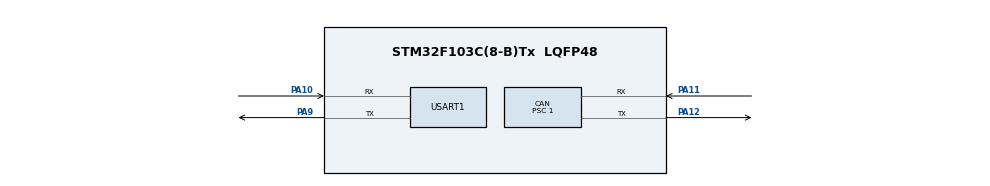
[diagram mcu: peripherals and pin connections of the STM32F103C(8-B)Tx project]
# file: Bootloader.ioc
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CAN.BS1=CAN_BS1_13TQ
CAN.BS2=CAN_BS2_2TQ
CAN.CalculateBaudRate=500000
CAN.CalculateTimeBit=2000
CAN.CalculateTimeQuantum=125.0
CAN.Mode=CAN_MODE_NORMAL
CAN.NART=ENABLE
CAN.Prescaler=1
Mcu.Family=STM32F1
Mcu.Name=STM32F103C(8-B)Tx
Mcu.Package=LQFP48
NVIC.PriorityGroup=NVIC_PRIORITYGROUP_4
PA10.Mode=Asynchronous
PA10.Signal=USART1_RX
PA11.Mode=CAN_Activate
PA11.Signal=CAN_RX
PA12.Mode=CAN_Activate
PA12.Signal=CAN_TX
PA9.Mode=Asynchronous
PA9.Signal=USART1_TX
ProjectManager.HeapSize=0x200
ProjectManager.StackSize=0x400
ProjectManager.TargetToolchain=STM32CubeIDE
RCC.APB1Freq_Value=8000000
RCC.APB2Freq_Value=8000000
USART1.VirtualMode=VM_ASYNC
VP_SYS_VS_ND.Mode=No_Debug
board=custom

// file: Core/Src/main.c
/* USER CODE BEGIN Header */

/**

  ******************************************************************************

  * @file           : main.c

  * @brief          : STM32 custom bootloader

  ******************************************************************************

  */

/* USER CODE END Header */

#include "main.h"

/* USER CODE BEGIN Includes */

#include "uds.h"

/* USER CODE END Includes */

/* USER CODE BEGIN PTD */

typedef enum

{

    BOOT_MODE_NORMAL = 0U,

    BOOT_MODE_UPDATE

} BootloaderMode_t;

typedef enum

{

    BOOT_TRANSPORT_NONE = 0U,

    BOOT_TRANSPORT_UART,

    BOOT_TRANSPORT_CAN

} BootloaderTransport_t;

typedef void (*pFunction)(void);

typedef struct

{

    uint32_t magic;

    uint32_t firmware_size;

    uint32_t crc32;

    uint32_t version;

} FirmwareHeader_t;

/* USER CODE END PTD */

/* USER CODE BEGIN PD */

#define PROTEUS_SIMULATION       0U

#define CAN_ID_COMMAND           0x600U

#define CAN_ID_DATA              0x601U

#define CAN_ID_HEADER            0x602U

#define CAN_ID_RESPONSE          0x650U

#define CAN_ID_UDS_REQUEST       0x7E0U

#define CAN_ID_UDS_RESPONSE      0x7E8U

#define CAN_SEQUENCE_SIZE        2U

#define CAN_DATA_PAYLOAD_SIZE    6U

#define CAN_RESPONSE_DLC         5U

#define CAN_TX_TIMEOUT           100U

#define CAN_SIM_UART_TIMEOUT     2000U

#define CAN_SIM_FRAME_START      0xC5U

#define CAN_ERROR_NONE           0x00U

#define CAN_ERROR_STATE          0x01U

#define CAN_ERROR_LENGTH         0x02U

#define CAN_ERROR_SEQUENCE       0x03U

#define CAN_ERROR_FLASH          0x04U

#define CAN_ERROR_HEADER         0x05U

#define CAN_ERROR_CRC            0x06U

#define CAN_ERROR_RANGE          0x07U

#define APP_HEADER_ADDRESS       0x08004000U

#define APP_START_ADDRESS        0x08004400U

#define APP_END_ADDRESS          0x08010000U

#define SRAM_START_ADDRESS       0x20000000U

#define SRAM_END_ADDRESS         0x20005000U

#define FW_MAGIC_NUMBER          0xB00710ADU

#define FW_VERSION               0x00010000U

#define CRC32_POLYNOMIAL         0xEDB88320U

#define CMD_PING                 'P'

#define CMD_START_UPDATE         'S'

#define CMD_ERASE                'R'

#define CMD_WRITE_TEST           'W'

#define CMD_DATA                 'D'

#define CMD_HEADER               'H'

#define CMD_VERIFY               'V'

#define CMD_END_UPDATE           'E'

#define BL_ACK                   'A'

#define BL_NACK                  'N'

#define BL_READY                 'Y'

#define BL_BYTE_RECEIVED         'K'

#define BL_BUFFER_RECEIVED       'B'

#if PROTEUS_SIMULATION

#define UART_RX_TIMEOUT          15000U

#else

#define UART_RX_TIMEOUT          3000U

#endif

#define UART_TX_TIMEOUT          100U

#define FLASH_PAGE_SIZE          0x400U

#define UPDATE_START_ADDRESS     APP_HEADER_ADDRESS

#define UPDATE_PAGE_COUNT        48U

#define DATA_BLOCK_SIZE          8U

#define HEADER_DATA_SIZE         16U

/* USER CODE END PD */

CAN_HandleTypeDef hcan;

UART_HandleTypeDef huart1;

/* USER CODE BEGIN PV */

static CAN_TxHeaderTypeDef canTxHeader;

static CAN_RxHeaderTypeDef canRxHeader;

static uint8_t canTxData[8];

static uint8_t canRxData[8];

static uint32_t canTxMailbox;

static uint32_t canFirmwareSize;

static uint32_t canFirmwareBytesReceived;

static uint16_t canExpectedDataSequence;

static uint16_t canExpectedHeaderSequence;

static uint8_t canHeaderBytesReceived;

static uint8_t canEraseDone;

static uint8_t canHeaderWritten;

static uint8_t canVerified;

static uint8_t dataBuffer[DATA_BLOCK_SIZE];

static uint8_t headerBuffer[HEADER_DATA_SIZE];

static uint32_t currentWriteAddress = APP_START_ADDRESS;

static uint8_t uartRxByte;

static uint8_t uartTxByte;

static BootloaderMode_t bootMode = BOOT_MODE_NORMAL;

static BootloaderTransport_t bootTransport = BOOT_TRANSPORT_NONE;

static uint32_t udsFlashWriteAddress = APP_START_ADDRESS;

static uint8_t udsFlashPendingByte;

static uint8_t udsFlashPendingByteValid;

/* USER CODE END PV */

void SystemClock_Config(void);

static void MX_GPIO_Init(void);

static void MX_USART1_UART_Init(void);

static void MX_CAN_Init(void);

/* USER CODE BEGIN PFP */

static uint8_t Bootloader_CAN_Init(void);

static void Bootloader_CAN_ResetUpdateState(void);

static uint8_t Bootloader_CAN_SendResponse(uint8_t response,

                                           uint8_t context,

                                           uint16_t sequence,

                                           uint8_t errorCode);

static void Bootloader_CAN_Process(void);

static uint8_t Bootloader_CAN_SimReceiveFrame(void);

static uint8_t Bootloader_UDS_SendFrame(const uint8_t *data,

                                        uint8_t dlc);

static uint8_t Bootloader_UDS_ProgramTransferBlock(const uint8_t *data,

                                                   uint8_t length,

                                                   uint8_t finalBlock);

static uint8_t Bootloader_UDS_FinalizeFirmware(uint32_t expectedCRC);

static void Bootloader_UDS_ProcessFrame(void);

static void Bootloader_CAN_ProcessCommand(void);

static void Bootloader_CAN_ProcessData(void);

static void Bootloader_CAN_ProcessHeader(void);

static uint8_t Bootloader_CAN_ValidateHeaderBuffer(uint8_t *errorCode);

static void Bootloader_WaitForUpdateRequest(void);

static void Bootloader_ProcessCommand(uint8_t command);

static uint8_t Bootloader_EraseFirmwareArea(void);

static uint8_t Bootloader_ProgramHalfWord(uint32_t address,

                                         uint16_t data);

static uint8_t Bootloader_ProgramBuffer(uint32_t address,

                                       const uint8_t *data,

                                       uint32_t length);

static uint8_t Bootloader_IsHeaderValid(void);

static uint8_t Bootloader_IsApplicationValid(void);

static uint8_t Bootloader_IsFirmwareIntegrityValid(void);

static uint32_t Bootloader_CalculateCRC32(uint32_t startAddress,

                                          uint32_t length);

static uint32_t Bootloader_ReadUint32LE(const uint8_t *data);

static void Jump_To_Application(void);

/* USER CODE END PFP */

/* USER CODE BEGIN 0 */

static uint32_t Bootloader_ReadUint32LE(const uint8_t *data)

{

    return ((uint32_t)data[0]) |

           ((uint32_t)data[1] << 8U) |

           ((uint32_t)data[2] << 16U) |

           ((uint32_t)data[3] << 24U);

}

static uint8_t Bootloader_CAN_Init(void)

{

    CAN_FilterTypeDef filter = {0};

    /*

     * One 16-bit list filter accepts the three V5 IDs and the UDS request ID.

     * Standard identifiers are stored left-shifted by 5 bits.

     */

    filter.FilterBank = 0;

    filter.FilterMode = CAN_FILTERMODE_IDLIST;

    filter.FilterScale = CAN_FILTERSCALE_16BIT;

    filter.FilterIdHigh = (CAN_ID_COMMAND << 5U);

    filter.FilterIdLow = (CAN_ID_DATA << 5U);

    filter.FilterMaskIdHigh = (CAN_ID_HEADER << 5U);

    filter.FilterMaskIdLow = (CAN_ID_UDS_REQUEST << 5U);

    filter.FilterFIFOAssignment = CAN_RX_FIFO0;

    filter.FilterActivation = ENABLE;

    filter.SlaveStartFilterBank = 14;

    if (HAL_CAN_ConfigFilter(&hcan, &filter) != HAL_OK)

        return 0U;

    if (HAL_CAN_Start(&hcan) != HAL_OK)

        return 0U;

    return 1U;

}

static void Bootloader_CAN_ResetUpdateState(void)

{

    uint32_t i;

    currentWriteAddress = APP_START_ADDRESS;

    canFirmwareBytesReceived = 0U;

    canExpectedDataSequence = 0U;

    canExpectedHeaderSequence = 0U;

    canHeaderBytesReceived = 0U;

    canEraseDone = 0U;

    canHeaderWritten = 0U;

    canVerified = 0U;

    for (i = 0U; i < HEADER_DATA_SIZE; i++)

        headerBuffer[i] = 0U;

}

static uint8_t Bootloader_UDS_SendFrame(const uint8_t *data,

                                        uint8_t dlc)

{

    uint32_t startTick;

    uint32_t i;

    uint8_t simFrame[12];

    if ((data == NULL) || (dlc == 0U) || (dlc > 8U))

    {

        return 0U;

    }

    canTxHeader.StdId = CAN_ID_UDS_RESPONSE;

    canTxHeader.ExtId = 0U;

    canTxHeader.IDE = CAN_ID_STD;

    canTxHeader.RTR = CAN_RTR_DATA;

    canTxHeader.DLC = dlc;

    canTxHeader.TransmitGlobalTime = DISABLE;

    for (i = 0U; i < dlc; i++)

    {

        canTxData[i] = data[i];

    }

    if (PROTEUS_SIMULATION != 0U)

    {

        simFrame[0] = CAN_SIM_FRAME_START;

        simFrame[1] = (uint8_t)(CAN_ID_UDS_RESPONSE & 0xFFU);

        simFrame[2] = (uint8_t)((CAN_ID_UDS_RESPONSE >> 8U) & 0xFFU);

        simFrame[3] = dlc;

        for (i = 0U; i < dlc; i++)

        {

            simFrame[4U + i] = data[i];

        }

        if (HAL_UART_Transmit(&huart1,

                              simFrame,

                              4U + dlc,

                              HAL_MAX_DELAY) != HAL_OK)

        {

            return 0U;

        }

        return 1U;

    }

    startTick = HAL_GetTick();

    while (HAL_CAN_GetTxMailboxesFreeLevel(&hcan) == 0U)

    {

        if ((HAL_GetTick() - startTick) >= CAN_TX_TIMEOUT)

        {

            return 0U;

        }

    }

    if (HAL_CAN_AddTxMessage(&hcan,

                             &canTxHeader,

                             canTxData,

                             &canTxMailbox) != HAL_OK)

    {

        return 0U;

    }

    return 1U;

}

static uint8_t Bootloader_UDS_ProgramTransferBlock(const uint8_t *data,

                                                   uint8_t length,

                                                   uint8_t finalBlock)

{

    uint8_t index = 0U;

    uint16_t halfWord;

    if ((data == NULL) || (length == 0U))

    {

        return 0U;

    }

    /*

     * STM32F103 Flash is programmed by half-word in this project.

     * UDS TransferData may carry an odd number of bytes, so one byte

     * can be kept until the following block arrives.

     */

    if (udsFlashPendingByteValid != 0U)

    {

        halfWord = (uint16_t)udsFlashPendingByte |

                   ((uint16_t)data[0] << 8U);

        if (Bootloader_ProgramHalfWord(udsFlashWriteAddress,

                                      halfWord) == 0U)

        {

            return 0U;

        }

        udsFlashWriteAddress += 2U;

        udsFlashPendingByteValid = 0U;

        index = 1U;

    }

    while ((uint8_t)(index + 1U) < length)

    {

        halfWord = (uint16_t)data[index] |

                   ((uint16_t)data[index + 1U] << 8U);

        if (Bootloader_ProgramHalfWord(udsFlashWriteAddress,

                                      halfWord) == 0U)

        {

            return 0U;

        }

        udsFlashWriteAddress += 2U;

        index += 2U;

    }

    if (index < length)

    {

        if (finalBlock != 0U)

        {

            halfWord = (uint16_t)data[index] | 0xFF00U;

            if (Bootloader_ProgramHalfWord(udsFlashWriteAddress,

                                          halfWord) == 0U)

            {

                return 0U;

            }

            udsFlashWriteAddress += 2U;

        }

        else

        {

            udsFlashPendingByte = data[index];

            udsFlashPendingByteValid = 1U;

        }

    }

    if ((finalBlock != 0U) &&

        (udsFlashPendingByteValid != 0U))

    {

        halfWord = (uint16_t)udsFlashPendingByte | 0xFF00U;

        if (Bootloader_ProgramHalfWord(udsFlashWriteAddress,

                                      halfWord) == 0U)

        {

            return 0U;

        }

        udsFlashWriteAddress += 2U;

        udsFlashPendingByteValid = 0U;

    }

    return 1U;

}

static uint8_t Bootloader_UDS_FinalizeFirmware(uint32_t expectedCRC)

{

    FirmwareHeader_t header;

    uint32_t calculatedCRC;

    uint32_t firmwareSize;

    firmwareSize = UDS_GetDownloadSize();

    if ((UDS_IsDownloadComplete() == 0U) ||

        (UDS_GetDownloadAddress() != APP_START_ADDRESS) ||

        (firmwareSize == 0U) ||

        ((APP_START_ADDRESS + firmwareSize) > APP_END_ADDRESS))

    {

        return 0U;

    }

    if (Bootloader_IsApplicationValid() == 0U)

    {

        return 0U;

    }

    calculatedCRC =

        Bootloader_CalculateCRC32(APP_START_ADDRESS,

                                  firmwareSize);

    if (calculatedCRC != expectedCRC)

    {

        return 0U;

    }

    /*

     * The Firmware Header is written only after the full Application

     * has been programmed and its CRC32 has been validated.

     */

    header.magic = FW_MAGIC_NUMBER;

    header.firmware_size = firmwareSize;

    header.crc32 = calculatedCRC;

    header.version = FW_VERSION;

    if (Bootloader_ProgramBuffer(APP_HEADER_ADDRESS,

                                 (const uint8_t *)&header,

                                 sizeof(FirmwareHeader_t)) == 0U)

    {

        return 0U;

    }

    if ((Bootloader_IsHeaderValid() == 0U) ||

        (Bootloader_IsApplicationValid() == 0U) ||

        (Bootloader_IsFirmwareIntegrityValid() == 0U))

    {

        return 0U;

    }

    return 1U;

}

static void Bootloader_UDS_ProcessFrame(void)

{

    uint8_t udsResponse[8];

    uint8_t udsResponseDlc = 0U;

    uint8_t responseOk = 1U;

    uint8_t transferData[5];

    uint8_t transferLength = 0U;

    uint8_t finalBlock = 0U;

    uint32_t transferAddress = 0U;

    uint32_t expectedCRC = 0U;

    uint8_t flashOk;

    if (UDS_ProcessSingleFrame(canRxData,

                               (uint8_t)canRxHeader.DLC,

                               udsResponse,

                               &udsResponseDlc) == 0U)

    {

        return;

    }

    if (UDS_GetSession() == UDS_SESSION_PROGRAMMING)

    {

        bootMode = BOOT_MODE_UPDATE;

        bootTransport = BOOT_TRANSPORT_CAN;

    }

    /*

     * RequestDownload:

     * UDS validates the request first, then the Bootloader erases Flash.

     */

    if (UDS_IsDownloadPreparationPending() != 0U)

    {

        flashOk = Bootloader_EraseFirmwareArea();

        if (flashOk != 0U)

        {

            udsFlashWriteAddress = UDS_GetDownloadAddress();

            udsFlashPendingByte = 0U;

            udsFlashPendingByteValid = 0U;

        }

        UDS_CompleteDownloadPreparation(flashOk,

                                        udsResponse,

                                        &udsResponseDlc);

    }

    /*

     * TransferData:

     * only a validated block reaches the STM32 Flash layer.

     */

    if (UDS_IsTransferDataPending() != 0U)

    {

        if (UDS_GetPendingTransferData(&transferAddress,

                                       transferData,

                                       &transferLength,

                                       &finalBlock) == 0U)

        {

            UDS_CompleteTransferData(0U,

                                     udsResponse,

                                     &udsResponseDlc);

        }

        else

        {

            (void)transferAddress;

            flashOk = Bootloader_UDS_ProgramTransferBlock(

                transferData,

                transferLength,

                finalBlock

            );

            UDS_CompleteTransferData(flashOk,

                                     udsResponse,

                                     &udsResponseDlc);

        }

    }

    /*

     * RequestTransferExit with CRC32:

     * calculate CRC from Flash, validate the Application, create the

     * Firmware Header and verify it before sending positive response 0x77.

     */

    if (UDS_IsFinalizationPending() != 0U)

    {

        expectedCRC = UDS_GetExpectedCRC32();

        flashOk =

            Bootloader_UDS_FinalizeFirmware(expectedCRC);

        UDS_CompleteFinalization(flashOk,

                                 udsResponse,

                                 &udsResponseDlc);

    }

    if (udsResponseDlc > 0U)

    {

        responseOk = Bootloader_UDS_SendFrame(udsResponse,

                                              udsResponseDlc);

    }

    if ((responseOk == 1U) &&

        (UDS_IsResetRequested() != 0U))

    {

        UDS_ClearResetRequest();

        if (PROTEUS_SIMULATION != 0U)

        {

            HAL_Delay(1000U);

        }

        else

        {

            HAL_Delay(10U);

        }

        NVIC_SystemReset();

    }

}

static uint8_t Bootloader_CAN_SimReceiveFrame(void)

{

    uint8_t frameHeader[3];

    uint16_t stdId;

    uint32_t i;

    /*

     * Proteus transport format:

     * C5 | ID_L | ID_H | DLC | DATA...

     *

     * The C5 marker is consumed by the caller before this function.

     */

    if (HAL_UART_Receive(&huart1,

                         frameHeader,

                         3U,

                         CAN_SIM_UART_TIMEOUT) != HAL_OK)

    {

        return 0U;

    }

    stdId = (uint16_t)frameHeader[0] |

            ((uint16_t)frameHeader[1] << 8U);

    if ((stdId > 0x7FFU) || (frameHeader[2] > 8U))

    {

        return 0U;

    }

    for (i = 0U; i < 8U; i++)

    {

        canRxData[i] = 0U;

    }

    if (frameHeader[2] > 0U)

    {

        if (HAL_UART_Receive(&huart1,

                             canRxData,

                             frameHeader[2],

                             CAN_SIM_UART_TIMEOUT) != HAL_OK)

        {

            return 0U;

        }

    }

    canRxHeader.StdId = stdId;

    canRxHeader.ExtId = 0U;

    canRxHeader.IDE = CAN_ID_STD;

    canRxHeader.RTR = CAN_RTR_DATA;

    canRxHeader.DLC = frameHeader[2];

    if (stdId == CAN_ID_COMMAND)

    {

        Bootloader_CAN_ProcessCommand();

    }

    else if (stdId == CAN_ID_DATA)

    {

        Bootloader_CAN_ProcessData();

    }

    else if (stdId == CAN_ID_HEADER)

    {

        Bootloader_CAN_ProcessHeader();

    }

    else if (stdId == CAN_ID_UDS_REQUEST)

    {

        Bootloader_UDS_ProcessFrame();

    }

    else

    {

        return 0U;

    }

    return 1U;

}

static uint8_t Bootloader_CAN_SendResponse(uint8_t response,

                                           uint8_t context,

                                           uint16_t sequence,

                                           uint8_t errorCode)

{

    uint32_t startTick;

    uint32_t i;

    uint8_t simFrame[4U + CAN_RESPONSE_DLC];

    canTxHeader.StdId = CAN_ID_RESPONSE;

    canTxHeader.ExtId = 0U;

    canTxHeader.IDE = CAN_ID_STD;

    canTxHeader.RTR = CAN_RTR_DATA;

    canTxHeader.DLC = CAN_RESPONSE_DLC;

    canTxHeader.TransmitGlobalTime = DISABLE;

    canTxData[0] = response;

    canTxData[1] = context;

    canTxData[2] = (uint8_t)(sequence & 0xFFU);

    canTxData[3] = (uint8_t)((sequence >> 8U) & 0xFFU);

    canTxData[4] = errorCode;

    if (PROTEUS_SIMULATION != 0U)

    {

        simFrame[0] = CAN_SIM_FRAME_START;

        simFrame[1] = (uint8_t)(CAN_ID_RESPONSE & 0xFFU);

        simFrame[2] = (uint8_t)((CAN_ID_RESPONSE >> 8U) & 0xFFU);

        simFrame[3] = CAN_RESPONSE_DLC;

        for (i = 0U; i < CAN_RESPONSE_DLC; i++)

        {

            simFrame[4U + i] = canTxData[i];

        }

        if (HAL_UART_Transmit(&huart1,

                              simFrame,

                              sizeof(simFrame),

                              HAL_MAX_DELAY) != HAL_OK)

        {

            return 0U;

        }

        return 1U;

    }

    startTick = HAL_GetTick();

    while (HAL_CAN_GetTxMailboxesFreeLevel(&hcan) == 0U)

    {

        if ((HAL_GetTick() - startTick) >= CAN_TX_TIMEOUT)

        {

            return 0U;

        }

    }

    if (HAL_CAN_AddTxMessage(&hcan,

                             &canTxHeader,

                             canTxData,

                             &canTxMailbox) != HAL_OK)

    {

        return 0U;

    }

    return 1U;

}

static uint8_t Bootloader_CAN_ValidateHeaderBuffer(uint8_t *errorCode)

{

    FirmwareHeader_t header;

    uint32_t maxFirmwareSize;

    uint32_t calculatedCRC;

    header.magic = Bootloader_ReadUint32LE(&headerBuffer[0]);

    header.firmware_size = Bootloader_ReadUint32LE(&headerBuffer[4]);

    header.crc32 = Bootloader_ReadUint32LE(&headerBuffer[8]);

    header.version = Bootloader_ReadUint32LE(&headerBuffer[12]);

    maxFirmwareSize = APP_END_ADDRESS - APP_START_ADDRESS;

    if (header.magic != FW_MAGIC_NUMBER)

    {

        *errorCode = CAN_ERROR_HEADER;

        return 0U;

    }

    if ((header.firmware_size == 0U) ||

        (header.firmware_size > maxFirmwareSize) ||

        (header.firmware_size != canFirmwareSize) ||

        (header.firmware_size != canFirmwareBytesReceived))

    {

        *errorCode = CAN_ERROR_RANGE;

        return 0U;

    }

    if (Bootloader_IsApplicationValid() == 0U)

    {

        *errorCode = CAN_ERROR_HEADER;

        return 0U;

    }

    calculatedCRC = Bootloader_CalculateCRC32(APP_START_ADDRESS,

                                               header.firmware_size);

    if (calculatedCRC != header.crc32)

    {

        *errorCode = CAN_ERROR_CRC;

        return 0U;

    }

    *errorCode = CAN_ERROR_NONE;

    return 1U;

}

static void Bootloader_CAN_ProcessCommand(void)

{

    uint8_t command;

    uint32_t firmwareSize;

    uint32_t maxFirmwareSize;

    uint32_t startTick;

    if (canRxHeader.DLC < 1U)

        return;

    command = canRxData[0];

    switch (command)

    {

        case CMD_PING:

        {

            Bootloader_CAN_SendResponse(BL_ACK,

                                        CMD_PING,

                                        0U,

                                        CAN_ERROR_NONE);

            break;

        }

        case CMD_START_UPDATE:

        {

            if (canRxHeader.DLC != 5U)

            {

                Bootloader_CAN_SendResponse(BL_NACK,

                                            CMD_START_UPDATE,

                                            0U,

                                            CAN_ERROR_LENGTH);

                break;

            }

            firmwareSize = Bootloader_ReadUint32LE(&canRxData[1]);

            maxFirmwareSize = APP_END_ADDRESS - APP_START_ADDRESS;

            if ((firmwareSize == 0U) || (firmwareSize > maxFirmwareSize))

            {

                Bootloader_CAN_SendResponse(BL_NACK,

                                            CMD_START_UPDATE,

                                            0U,

                                            CAN_ERROR_RANGE);

                break;

            }

            bootMode = BOOT_MODE_UPDATE;

            bootTransport = BOOT_TRANSPORT_CAN;

            canFirmwareSize = firmwareSize;

            Bootloader_CAN_ResetUpdateState();

            Bootloader_CAN_SendResponse(BL_ACK,

                                        CMD_START_UPDATE,

                                        0U,

                                        CAN_ERROR_NONE);

            break;

        }

        case CMD_ERASE:

        {

            if ((bootMode != BOOT_MODE_UPDATE) ||

                (bootTransport != BOOT_TRANSPORT_CAN) ||

                (canFirmwareSize == 0U))

            {

                Bootloader_CAN_SendResponse(BL_NACK,

                                            CMD_ERASE,

                                            0U,

                                            CAN_ERROR_STATE);

                break;

            }

            if (Bootloader_EraseFirmwareArea() == 0U)

            {

                Bootloader_CAN_SendResponse(BL_NACK,

                                            CMD_ERASE,

                                            0U,

                                            CAN_ERROR_FLASH);

                break;

            }

            Bootloader_CAN_ResetUpdateState();

            canEraseDone = 1U;

            Bootloader_CAN_SendResponse(BL_ACK,

                                        CMD_ERASE,

                                        0U,

                                        CAN_ERROR_NONE);

            break;

        }

        case CMD_VERIFY:

        {

            if ((bootMode != BOOT_MODE_UPDATE) ||

                (bootTransport != BOOT_TRANSPORT_CAN) ||

                (canHeaderWritten == 0U))

            {

                Bootloader_CAN_SendResponse(BL_NACK,

                                            CMD_VERIFY,

                                            0U,

                                            CAN_ERROR_STATE);

                break;

            }

            if ((Bootloader_IsHeaderValid() == 1U) &&

                (Bootloader_IsApplicationValid() == 1U) &&

                (Bootloader_IsFirmwareIntegrityValid() == 1U))

            {

                canVerified = 1U;

                Bootloader_CAN_SendResponse(BL_ACK,

                                            CMD_VERIFY,

                                            0U,

                                            CAN_ERROR_NONE);

            }

            else

            {

                canVerified = 0U;

                Bootloader_CAN_SendResponse(BL_NACK,

                                            CMD_VERIFY,

                                            0U,

                                            CAN_ERROR_CRC);

            }

            break;

        }

        case CMD_END_UPDATE:

        {

            if ((bootMode != BOOT_MODE_UPDATE) ||

                (bootTransport != BOOT_TRANSPORT_CAN) ||

                (canVerified == 0U) ||

                (Bootloader_IsHeaderValid() == 0U) ||

                (Bootloader_IsApplicationValid() == 0U) ||

                (Bootloader_IsFirmwareIntegrityValid() == 0U))

            {

                Bootloader_CAN_SendResponse(BL_NACK,

                                            CMD_END_UPDATE,

                                            0U,

                                            CAN_ERROR_STATE);

                break;

            }

            if (Bootloader_CAN_SendResponse(BL_ACK,

                                            CMD_END_UPDATE,

                                            0U,

                                            CAN_ERROR_NONE) == 1U)

            {

                if (PROTEUS_SIMULATION == 0U)

                {

                    startTick = HAL_GetTick();

                    while (HAL_CAN_IsTxMessagePending(&hcan,

                                                      canTxMailbox) != 0U)

                    {

                        if ((HAL_GetTick() - startTick) >= CAN_TX_TIMEOUT)

                        {

                            break;

                        }

                    }

                }

            }

            if (PROTEUS_SIMULATION != 0U)

            {

                HAL_Delay(1000U);

            }

            else

            {

                HAL_Delay(10U);

            }

            NVIC_SystemReset();

            break;

        }

        default:

        {

            Bootloader_CAN_SendResponse(BL_NACK,

                                        command,

                                        0U,

                                        CAN_ERROR_STATE);

            break;

        }

    }

}

static void Bootloader_CAN_ProcessData(void)

{

    uint16_t sequence;

    uint16_t previousSequence;

    uint8_t payloadLength;

    uint8_t expectedLength;

    uint8_t programLength;

    uint8_t programBuffer[CAN_DATA_PAYLOAD_SIZE + 1U];

    uint32_t remaining;

    uint32_t i;

    if ((bootMode != BOOT_MODE_UPDATE) ||

        (bootTransport != BOOT_TRANSPORT_CAN) ||

        (canEraseDone == 0U))

    {

        Bootloader_CAN_SendResponse(BL_NACK,

                                    CMD_DATA,

                                    0U,

                                    CAN_ERROR_STATE);

        return;

    }

    if ((canRxHeader.DLC < 3U) || (canRxHeader.DLC > 8U))

    {

        Bootloader_CAN_SendResponse(BL_NACK,

                                    CMD_DATA,

                                    0U,

                                    CAN_ERROR_LENGTH);

        return;

    }

    sequence = (uint16_t)canRxData[0] |

               ((uint16_t)canRxData[1] << 8U);

    if (canExpectedDataSequence > 0U)

    {

        previousSequence = (uint16_t)(canExpectedDataSequence - 1U);

        if (sequence == previousSequence)

        {

            Bootloader_CAN_SendResponse(BL_ACK,

                                        CMD_DATA,

                                        sequence,

                                        CAN_ERROR_NONE);

            return;

        }

    }

    if (sequence != canExpectedDataSequence)

    {

        Bootloader_CAN_SendResponse(BL_NACK,

                                    CMD_DATA,

                                    sequence,

                                    CAN_ERROR_SEQUENCE);

        return;

    }

    if (canFirmwareBytesReceived >= canFirmwareSize)

    {

        Bootloader_CAN_SendResponse(BL_NACK,

                                    CMD_DATA,

                                    sequence,

                                    CAN_ERROR_RANGE);

        return;

    }

    remaining = canFirmwareSize - canFirmwareBytesReceived;

    if (remaining > CAN_DATA_PAYLOAD_SIZE)

        expectedLength = CAN_DATA_PAYLOAD_SIZE;

    else

        expectedLength = (uint8_t)remaining;

    payloadLength = (uint8_t)(canRxHeader.DLC - CAN_SEQUENCE_SIZE);

    if (payloadLength != expectedLength)

    {

        Bootloader_CAN_SendResponse(BL_NACK,

                                    CMD_DATA,

                                    sequence,

                                    CAN_ERROR_LENGTH);

        return;

    }

    for (i = 0U; i < payloadLength; i++)

        programBuffer[i] = canRxData[i + CAN_SEQUENCE_SIZE];

    programLength = payloadLength;

    if ((programLength & 0x1U) != 0U)

    {

        programBuffer[programLength] = 0xFFU;

        programLength++;

    }

    if ((currentWriteAddress + programLength) > APP_END_ADDRESS)

    {

        Bootloader_CAN_SendResponse(BL_NACK,

                                    CMD_DATA,

                                    sequence,

                                    CAN_ERROR_RANGE);

        return;

    }

    if (Bootloader_ProgramBuffer(currentWriteAddress,

                                 programBuffer,

                                 programLength) == 0U)

    {

        Bootloader_CAN_SendResponse(BL_NACK,

                                    CMD_DATA,

                                    sequence,

                                    CAN_ERROR_FLASH);

        return;

    }

    currentWriteAddress += programLength;

    canFirmwareBytesReceived += payloadLength;

    canExpectedDataSequence++;

    Bootloader_CAN_SendResponse(BL_ACK,

                                CMD_DATA,

                                sequence,

                                CAN_ERROR_NONE);

}

static void Bootloader_CAN_ProcessHeader(void)

{

    uint16_t sequence;

    uint16_t previousSequence;

    uint8_t payloadLength;

    uint8_t expectedLength;

    uint8_t errorCode;

    uint32_t remaining;

    uint32_t i;

    if ((bootMode != BOOT_MODE_UPDATE) ||

        (bootTransport != BOOT_TRANSPORT_CAN) ||

        (canEraseDone == 0U) ||

        (canFirmwareBytesReceived != canFirmwareSize))

    {

        Bootloader_CAN_SendResponse(BL_NACK,

                                    CMD_HEADER,

                                    0U,

                                    CAN_ERROR_STATE);

        return;

    }

    if ((canRxHeader.DLC < 3U) || (canRxHeader.DLC > 8U))

    {

        Bootloader_CAN_SendResponse(BL_NACK,

                                    CMD_HEADER,

                                    0U,

                                    CAN_ERROR_LENGTH);

        return;

    }

    sequence = (uint16_t)canRxData[0] |

               ((uint16_t)canRxData[1] << 8U);

    if (canExpectedHeaderSequence > 0U)

    {

        previousSequence = (uint16_t)(canExpectedHeaderSequence - 1U);

        if (sequence == previousSequence)

        {

            Bootloader_CAN_SendResponse(BL_ACK,

                                        CMD_HEADER,

                                        sequence,

                                        CAN_ERROR_NONE);

            return;

        }

    }

    if (sequence != canExpectedHeaderSequence)

    {

        Bootloader_CAN_SendResponse(BL_NACK,

                                    CMD_HEADER,

                                    sequence,

                                    CAN_ERROR_SEQUENCE);

        return;

    }

    if (canHeaderBytesReceived >= HEADER_DATA_SIZE)

    {

        Bootloader_CAN_SendResponse(BL_NACK,

                                    CMD_HEADER,

                                    sequence,

                                    CAN_ERROR_RANGE);

        return;

    }

    remaining = HEADER_DATA_SIZE - canHeaderBytesReceived;

    if (remaining > CAN_DATA_PAYLOAD_SIZE)

        expectedLength = CAN_DATA_PAYLOAD_SIZE;

    else

        expectedLength = (uint8_t)remaining;

    payloadLength = (uint8_t)(canRxHeader.DLC - CAN_SEQUENCE_SIZE);

    if (payloadLength != expectedLength)

    {

        Bootloader_CAN_SendResponse(BL_NACK,

                                    CMD_HEADER,

                                    sequence,

                                    CAN_ERROR_LENGTH);

        return;

    }

    for (i = 0U; i < payloadLength; i++)

    {

        headerBuffer[canHeaderBytesReceived + i] =

            canRxData[i + CAN_SEQUENCE_SIZE];

    }

    canHeaderBytesReceived += payloadLength;

    if (canHeaderBytesReceived == HEADER_DATA_SIZE)

    {

        if (Bootloader_CAN_ValidateHeaderBuffer(&errorCode) == 0U)

        {

            canHeaderBytesReceived = 0U;

            canExpectedHeaderSequence = 0U;

            canHeaderWritten = 0U;

            canVerified = 0U;

            Bootloader_CAN_SendResponse(BL_NACK,

                                        CMD_HEADER,

                                        sequence,

                                        errorCode);

            return;

        }

        if (Bootloader_ProgramBuffer(APP_HEADER_ADDRESS,

                                     headerBuffer,

                                     HEADER_DATA_SIZE) == 0U)

        {

            canHeaderBytesReceived = 0U;

            canExpectedHeaderSequence = 0U;

            canHeaderWritten = 0U;

            Bootloader_CAN_SendResponse(BL_NACK,

                                        CMD_HEADER,

                                        sequence,

                                        CAN_ERROR_FLASH);

            return;

        }

        canHeaderWritten = 1U;

    }

    canExpectedHeaderSequence++;

    Bootloader_CAN_SendResponse(BL_ACK,

                                CMD_HEADER,

                                sequence,

                                CAN_ERROR_NONE);

}

static void Bootloader_CAN_Process(void)

{

    if (HAL_CAN_GetRxFifoFillLevel(&hcan, CAN_RX_FIFO0) == 0U)

        return;

    if (HAL_CAN_GetRxMessage(&hcan,

                             CAN_RX_FIFO0,

                             &canRxHeader,

                             canRxData) != HAL_OK)

    {

        return;

    }

    if ((canRxHeader.IDE != CAN_ID_STD) ||

        (canRxHeader.RTR != CAN_RTR_DATA))

    {

        return;

    }

    if (canRxHeader.StdId == CAN_ID_COMMAND)

    {

        Bootloader_CAN_ProcessCommand();

    }

    else if (canRxHeader.StdId == CAN_ID_DATA)

    {

        Bootloader_CAN_ProcessData();

    }

    else if (canRxHeader.StdId == CAN_ID_HEADER)

    {

        Bootloader_CAN_ProcessHeader();

    }

    else if (canRxHeader.StdId == CAN_ID_UDS_REQUEST)

    {

        Bootloader_UDS_ProcessFrame();

    }

}

static void Bootloader_WaitForUpdateRequest(void)

{

    uint32_t startTick;

    startTick = HAL_GetTick();

    while ((HAL_GetTick() - startTick) < UART_RX_TIMEOUT)

    {

        if (PROTEUS_SIMULATION == 0U)

        {

            Bootloader_CAN_Process();

            if (bootMode == BOOT_MODE_UPDATE)

            {

                break;

            }

        }

        if (HAL_UART_Receive(&huart1,

                             &uartRxByte,

                             1U,

                             1U) == HAL_OK)

        {

            if ((PROTEUS_SIMULATION != 0U) &&

                (uartRxByte == CAN_SIM_FRAME_START))

            {

                (void)Bootloader_CAN_SimReceiveFrame();

            }

            else

            {

                Bootloader_ProcessCommand(uartRxByte);

            }

            /*

             * Keep the Proteus diagnostic window alive while the tester

             * is actively communicating, but allow a normal boot after

             * 15 seconds of inactivity.

             */

            startTick = HAL_GetTick();

            if (bootMode == BOOT_MODE_UPDATE)

            {

                break;

            }

        }

    }

}

static uint8_t Bootloader_ProgramBuffer(uint32_t address,

                                        const uint8_t *data,

                                        uint32_t length)

{

    uint32_t i;

    uint16_t halfWord;

    if ((data == NULL) || (length == 0U))

        return 0U;

    if ((length & 0x1U) != 0U)

        return 0U;

    if ((address < UPDATE_START_ADDRESS) ||

        (address >= APP_END_ADDRESS))

        return 0U;

    if ((address + length) > APP_END_ADDRESS)

        return 0U;

    if ((address & 0x1U) != 0U)

        return 0U;

    HAL_FLASH_Unlock();

    for (i = 0U; i < length; i += 2U)

    {

        halfWord = (uint16_t)data[i] |

                   ((uint16_t)data[i + 1U] << 8U);

        if (HAL_FLASH_Program(FLASH_TYPEPROGRAM_HALFWORD,

                              address + i,

                              halfWord) != HAL_OK)

        {

            HAL_FLASH_Lock();

            return 0U;

        }

        if (*(volatile uint16_t *)(address + i) != halfWord)

        {

            HAL_FLASH_Lock();

            return 0U;

        }

    }

    HAL_FLASH_Lock();

    return 1U;

}

static uint8_t Bootloader_ProgramHalfWord(uint32_t address,

                                          uint16_t data)

{

    if ((address < UPDATE_START_ADDRESS) ||

        (address >= APP_END_ADDRESS))

        return 0U;

    if ((address & 0x1U) != 0U)

        return 0U;

    HAL_FLASH_Unlock();

    if (HAL_FLASH_Program(FLASH_TYPEPROGRAM_HALFWORD,

                          address,

                          data) != HAL_OK)

    {

        HAL_FLASH_Lock();

        return 0U;

    }

    HAL_FLASH_Lock();

    if (*(volatile uint16_t *)address != data)

        return 0U;

    return 1U;

}

static uint8_t Bootloader_EraseFirmwareArea(void)

{

    FLASH_EraseInitTypeDef eraseInit = {0};

    uint32_t pageError;

    eraseInit.TypeErase = FLASH_TYPEERASE_PAGES;

    eraseInit.PageAddress = UPDATE_START_ADDRESS;

    eraseInit.NbPages = UPDATE_PAGE_COUNT;

    HAL_FLASH_Unlock();

    if (HAL_FLASHEx_Erase(&eraseInit, &pageError) != HAL_OK)

    {

        HAL_FLASH_Lock();

        return 0U;

    }

    HAL_FLASH_Lock();

    return 1U;

}

__attribute__((noinline, optimize("O0")))

static uint32_t Bootloader_CalculateCRC32(uint32_t startAddress,

                                           uint32_t length)

{

    const volatile uint8_t *data;

    uint32_t crc;

    uint32_t i;

    uint8_t bit;

    data = (const volatile uint8_t *)startAddress;

    crc = 0xFFFFFFFFU;

    for (i = 0U; i < length; i++)

    {

        crc ^= (uint32_t)data[i];

        for (bit = 0U; bit < 8U; bit++)

        {

            if ((crc & 0x1U) != 0U)

                crc = (crc >> 1U) ^ CRC32_POLYNOMIAL;

            else

                crc >>= 1U;

        }

    }

    return crc ^ 0xFFFFFFFFU;

}

static uint8_t Bootloader_IsHeaderValid(void)

{

    const volatile FirmwareHeader_t *header;

    uint32_t maxFirmwareSize;

    header =

        (const volatile FirmwareHeader_t *)APP_HEADER_ADDRESS;

    if (header->magic != FW_MAGIC_NUMBER)

        return 0U;

maxFirmwareSize =

        APP_END_ADDRESS - APP_START_ADDRESS;

    if (header->firmware_size == 0U)

        return 0U;

    if (header->firmware_size > maxFirmwareSize)

        return 0U;

    return 1U;

}

static uint8_t Bootloader_IsApplicationValid(void)

{

    uint32_t appStack;

    uint32_t appResetHandler;

    uint32_t appResetAddress;

    appStack =

        *(volatile uint32_t *)APP_START_ADDRESS;

    appResetHandler =

        *(volatile uint32_t *)(APP_START_ADDRESS + 4U);

    if ((appStack == 0xFFFFFFFFU) ||

        (appResetHandler == 0xFFFFFFFFU))

        return 0U;

    /*

     * The initial MSP can be equal to the top of SRAM because

     * the stack grows downward.

     */

    if ((appStack < SRAM_START_ADDRESS) ||

        (appStack > SRAM_END_ADDRESS))

        return 0U;

    /* Cortex-M handler addresses must have the Thumb bit set. */

    if ((appResetHandler & 0x1U) == 0U)

        return 0U;

    appResetAddress =

        appResetHandler & ~0x1U;

    if ((appResetAddress < APP_START_ADDRESS) ||

        (appResetAddress >= APP_END_ADDRESS))

        return 0U;

    return 1U;

}

static uint8_t Bootloader_IsFirmwareIntegrityValid(void)

{

    const volatile FirmwareHeader_t *header;

    uint32_t calculatedCRC;

    header =

        (const volatile FirmwareHeader_t *)APP_HEADER_ADDRESS;

    calculatedCRC =

        Bootloader_CalculateCRC32(APP_START_ADDRESS,

                                  header->firmware_size);

    if (calculatedCRC != header->crc32)

        return 0U;

    return 1U;

}

static void Jump_To_Application(void)
{
    uint32_t appStack;
    uint32_t appResetHandler;
    uint32_t i;

    /* Do not jump to an empty or inconsistent application. */
    if (Bootloader_IsApplicationValid() == 0U)
    {
        return;
    }

    appStack = *(volatile uint32_t *)APP_START_ADDRESS;
    appResetHandler = *(volatile uint32_t *)(APP_START_ADDRESS + 4U);

    /* Basic vector table validation before changing processor state. */
    if (((appStack & 0x7U) != 0U) ||
        ((appResetHandler & 0x1U) == 0U))
    {
        return;
    }

    /* HAL deinitialization must run while SysTick still works. */
    if (PROTEUS_SIMULATION == 0U)
    {
        (void)HAL_CAN_DeInit(&hcan);
    }
    (void)HAL_UART_DeInit(&huart1);

    __disable_irq();

    /* Stop the bootloader tick so it cannot fire in the application. */
    SysTick->CTRL = 0U;
    SysTick->LOAD = 0U;
    SysTick->VAL  = 0U;

    /* STM32F103: clear/disable up to 64 external IRQ slots. */
    for (i = 0U; i < 2U; ++i)
    {
        NVIC->ICER[i] = 0xFFFFFFFFU;
        NVIC->ICPR[i] = 0xFFFFFFFFU;
    }

    /* Discard pending SysTick and PendSV exceptions. */
    SCB->ICSR = SCB_ICSR_PENDSVCLR_Msk | SCB_ICSR_PENDSTCLR_Msk;

    /* The application's vector table starts at 0x08004400. */
    SCB->VTOR = APP_START_ADDRESS;
    __DSB();
    __ISB();

    /* All external IRQs remain disabled; main() may reconfigure them. */
    __enable_irq();

    /* Atomic stack switch + branch: no C code runs on the new MSP. */
    __asm volatile
    (
        "msr msp, %0\n"
        "bx %1\n"
        :
        : "r" (appStack), "r" (appResetHandler)
        : "memory"
    );

    __builtin_unreachable();
}

static void Bootloader_ProcessCommand(uint8_t command)

{

    switch (command)

    {

        case CMD_PING:

        {

            uartTxByte = BL_ACK;

            HAL_UART_Transmit(&huart1,

                              &uartTxByte,

                              1U,

                              UART_TX_TIMEOUT);

            break;

        }

        case CMD_START_UPDATE:

        {

            bootMode = BOOT_MODE_UPDATE;

            bootTransport = BOOT_TRANSPORT_UART;

            uartTxByte = BL_ACK;

            HAL_UART_Transmit(&huart1,

                              &uartTxByte,

                              1U,

                              UART_TX_TIMEOUT);

            break;

        }

        case CMD_ERASE:

        {

            if (bootMode != BOOT_MODE_UPDATE)

            {

                uartTxByte = BL_NACK;

            }

            else if (Bootloader_EraseFirmwareArea() == 1U)

            {

                currentWriteAddress = APP_START_ADDRESS;

                uartTxByte = BL_ACK;

            }

            else

            {

                uartTxByte = BL_NACK;

            }

            HAL_UART_Transmit(&huart1,

                              &uartTxByte,

                              1U,

                              UART_TX_TIMEOUT);

            break;

        }

        case CMD_WRITE_TEST:

        {

            if ((bootMode == BOOT_MODE_UPDATE) &&

                (Bootloader_ProgramHalfWord(APP_START_ADDRESS,

                                            0x1234U) == 1U))

            {

                uartTxByte = BL_ACK;

            }

            else

            {

                uartTxByte = BL_NACK;

            }

            HAL_UART_Transmit(&huart1,

                              &uartTxByte,

                              1U,

                              UART_TX_TIMEOUT);

            break;

        }

        case CMD_DATA:

        {

            uint32_t i;

            uint8_t receiveOk = 1U;

            if (bootMode != BOOT_MODE_UPDATE)

            {

                uartTxByte = BL_NACK;

                HAL_UART_Transmit(&huart1,

                                  &uartTxByte,

                                  1U,

                                  UART_TX_TIMEOUT);

                break;

            }

            /* Tell the PC that the STM32 is ready for the block. */

            uartTxByte = BL_READY;

            HAL_UART_Transmit(&huart1,

                              &uartTxByte,

                              1U,

                              UART_TX_TIMEOUT);

            for (i = 0U; i < DATA_BLOCK_SIZE; i++)

            {

                if (HAL_UART_Receive(&huart1,

                                     &dataBuffer[i],

                                     1U,

                                     HAL_MAX_DELAY) != HAL_OK)

                {

                    receiveOk = 0U;

                    break;

                }

                uartTxByte = BL_BYTE_RECEIVED;

                HAL_UART_Transmit(&huart1,

                                  &uartTxByte,

                                  1U,

                                  UART_TX_TIMEOUT);

            }

            if (receiveOk == 0U)

            {

                uartTxByte = BL_NACK;

                HAL_UART_Transmit(&huart1,

                                  &uartTxByte,

                                  1U,

                                  UART_TX_TIMEOUT);

                break;

            }

            /* Complete block is now available in RAM. */

            uartTxByte = BL_BUFFER_RECEIVED;

            HAL_UART_Transmit(&huart1,

                              &uartTxByte,

                              1U,

                              UART_TX_TIMEOUT);

            if (Bootloader_ProgramBuffer(currentWriteAddress,

                                         dataBuffer,

                                         DATA_BLOCK_SIZE) == 1U)

            {

                currentWriteAddress += DATA_BLOCK_SIZE;

                uartTxByte = BL_ACK;

            }

            else

            {

                uartTxByte = BL_NACK;

            }

            HAL_UART_Transmit(&huart1,

                              &uartTxByte,

                              1U,

                              UART_TX_TIMEOUT);

            break;

        }

        case CMD_HEADER:

        {

            uint32_t i;

            uint8_t receiveOk = 1U;

            if (bootMode != BOOT_MODE_UPDATE)

            {

                uartTxByte = BL_NACK;

                HAL_UART_Transmit(&huart1,

                                  &uartTxByte,

                                  1U,

                                  UART_TX_TIMEOUT);

                break;

            }

            uartTxByte = BL_READY;

            HAL_UART_Transmit(&huart1,

                              &uartTxByte,

                              1U,

                              UART_TX_TIMEOUT);

            for (i = 0U; i < HEADER_DATA_SIZE; i++)

            {

                if (HAL_UART_Receive(&huart1,

                                     &headerBuffer[i],

                                     1U,

                                     HAL_MAX_DELAY) != HAL_OK)

                {

                    receiveOk = 0U;

                    break;

                }

                uartTxByte = BL_BYTE_RECEIVED;

                HAL_UART_Transmit(&huart1,

                                  &uartTxByte,

                                  1U,

                                  UART_TX_TIMEOUT);

            }

            if (receiveOk == 0U)

            {

                uartTxByte = BL_NACK;

                HAL_UART_Transmit(&huart1,

                                  &uartTxByte,

                                  1U,

                                  UART_TX_TIMEOUT);

                break;

            }

            uartTxByte = BL_BUFFER_RECEIVED;

            HAL_UART_Transmit(&huart1,

                              &uartTxByte,

                              1U,

                              UART_TX_TIMEOUT);

            if (Bootloader_ProgramBuffer(APP_HEADER_ADDRESS,

                                         headerBuffer,

                                         HEADER_DATA_SIZE) == 1U)

            {

                uartTxByte = BL_ACK;

            }

            else

            {

                uartTxByte = BL_NACK;

            }

            HAL_UART_Transmit(&huart1,

                              &uartTxByte,

                              1U,

                              UART_TX_TIMEOUT);

            break;

        }

        case CMD_VERIFY:

        {

            if ((bootMode == BOOT_MODE_UPDATE) &&

                (Bootloader_IsHeaderValid() == 1U) &&

                (Bootloader_IsApplicationValid() == 1U) &&

                (Bootloader_IsFirmwareIntegrityValid() == 1U))

            {

                uartTxByte = BL_ACK;

            }

            else

            {

                uartTxByte = BL_NACK;

            }

            HAL_UART_Transmit(&huart1,

                              &uartTxByte,

                              1U,

                              UART_TX_TIMEOUT);

            break;

        }

        case CMD_END_UPDATE:

        {

            if ((bootMode == BOOT_MODE_UPDATE) &&

                (Bootloader_IsHeaderValid() == 1U) &&

                (Bootloader_IsApplicationValid() == 1U) &&

                (Bootloader_IsFirmwareIntegrityValid() == 1U))

            {

                uartTxByte = BL_ACK;

                /*

                 * HAL_MAX_DELAY is intentional here.

                 * We want the ACK to leave USART before resetting.

                 */

                HAL_UART_Transmit(&huart1,

                                  &uartTxByte,

                                  1U,

                                  HAL_MAX_DELAY);

                /*

                 * Proteus + COMPIM needs some time to propagate

                 * the last character before the reset.

                 */

                HAL_Delay(1000U);

                NVIC_SystemReset();

            }

            else

            {

                uartTxByte = BL_NACK;

                HAL_UART_Transmit(&huart1,

                                  &uartTxByte,

                                  1U,

                                  UART_TX_TIMEOUT);

            }

            break;

        }

        default:

        {

            uartTxByte = BL_NACK;

            HAL_UART_Transmit(&huart1,

                              &uartTxByte,

                              1U,

                              UART_TX_TIMEOUT);

            break;

        }

    }

}

/* USER CODE END 0 */

int main(void)

{

  /* MCU Configuration--------------------------------------------------------*/

  /* Reset of all peripherals, Initializes the Flash interface and the Systick. */

  HAL_Init();

  /* Configure the system clock */

  SystemClock_Config();

  /* Initialize all configured peripherals */

  MX_GPIO_Init();

  MX_USART1_UART_Init();

  if (PROTEUS_SIMULATION == 0U)

  {

      MX_CAN_Init();

  }

  /* USER CODE BEGIN 2 */

  UDS_Init();

  /*

   * Proteus 9.0 SP2 does not correctly model bxCAN for this MCU model.

   * Keep CAN disabled only for simulation. Set PROTEUS_SIMULATION to 0

   * when the bootloader runs on a real STM32F103.

   */

  if (PROTEUS_SIMULATION == 0U)

  {

      if (Bootloader_CAN_Init() == 0U)

      {

          Error_Handler();

      }

  }

  Bootloader_WaitForUpdateRequest();

  if (bootMode == BOOT_MODE_UPDATE)

  {

      if (bootTransport == BOOT_TRANSPORT_UART)

      {

          while (1)

          {

              if (HAL_UART_Receive(&huart1,

                                   &uartRxByte,

                                   1U,

                                   HAL_MAX_DELAY) == HAL_OK)

              {

                  Bootloader_ProcessCommand(uartRxByte);

              }

          }

      }

      else if (bootTransport == BOOT_TRANSPORT_CAN)

      {

          while (1)

          {

              if (PROTEUS_SIMULATION != 0U)

              {

                  if (HAL_UART_Receive(&huart1,

                                       &uartRxByte,

                                       1U,

                                       HAL_MAX_DELAY) == HAL_OK)

                  {

                      if (uartRxByte == CAN_SIM_FRAME_START)

                      {

                          (void)Bootloader_CAN_SimReceiveFrame();

                      }

                  }

              }

              else

              {

                  Bootloader_CAN_Process();

              }

          }

      }

  }

  if ((Bootloader_IsHeaderValid() == 1U) &&

      (Bootloader_IsApplicationValid() == 1U) &&

      (Bootloader_IsFirmwareIntegrityValid() == 1U))

  {

      Jump_To_Application();

  }

  /* USER CODE END 2 */

  /* Infinite loop */

  /* USER CODE BEGIN WHILE */

  while (1)

  {

      /* Keep the CAN interface responsive when firmware is absent/invalid. */
      if (PROTEUS_SIMULATION == 0U)
      {
          Bootloader_CAN_Process();
      }

    /* USER CODE END WHILE */

  }

}

void SystemClock_Config(void)

{

  RCC_OscInitTypeDef RCC_OscInitStruct = {0};

  RCC_ClkInitTypeDef RCC_ClkInitStruct = {0};

  /** Initializes the RCC Oscillators according to the specified parameters

  * in the RCC_OscInitTypeDef structure.

  */

  RCC_OscInitStruct.OscillatorType = RCC_OSCILLATORTYPE_HSI;

  RCC_OscInitStruct.HSIState = RCC_HSI_ON;

  RCC_OscInitStruct.HSICalibrationValue = RCC_HSICALIBRATION_DEFAULT;

  RCC_OscInitStruct.PLL.PLLState = RCC_PLL_NONE;

  if (HAL_RCC_OscConfig(&RCC_OscInitStruct) != HAL_OK)

  {

    Error_Handler();

  }

  /** Initializes the CPU, AHB and APB buses clocks

  */

  RCC_ClkInitStruct.ClockType = RCC_CLOCKTYPE_HCLK|RCC_CLOCKTYPE_SYSCLK

                              |RCC_CLOCKTYPE_PCLK1|RCC_CLOCKTYPE_PCLK2;

  RCC_ClkInitStruct.SYSCLKSource = RCC_SYSCLKSOURCE_HSI;

  RCC_ClkInitStruct.AHBCLKDivider = RCC_SYSCLK_DIV1;

  RCC_ClkInitStruct.APB1CLKDivider = RCC_HCLK_DIV1;

  RCC_ClkInitStruct.APB2CLKDivider = RCC_HCLK_DIV1;

  if (HAL_RCC_ClockConfig(&RCC_ClkInitStruct, FLASH_LATENCY_0) != HAL_OK)

  {

    Error_Handler();

  }

}

static void MX_CAN_Init(void)

{

  hcan.Instance = CAN1;

  hcan.Init.Prescaler = 1;

  hcan.Init.Mode = CAN_MODE_NORMAL;

  hcan.Init.SyncJumpWidth = CAN_SJW_1TQ;

  hcan.Init.TimeSeg1 = CAN_BS1_13TQ;

  hcan.Init.TimeSeg2 = CAN_BS2_2TQ;

  hcan.Init.TimeTriggeredMode = DISABLE;

  hcan.Init.AutoBusOff = DISABLE;

  hcan.Init.AutoWakeUp = DISABLE;

  hcan.Init.AutoRetransmission = ENABLE;

  hcan.Init.ReceiveFifoLocked = DISABLE;

  hcan.Init.TransmitFifoPriority = DISABLE;

  if (HAL_CAN_Init(&hcan) != HAL_OK)

  {

    Error_Handler();

  }

}

static void MX_USART1_UART_Init(void)

{

  huart1.Instance = USART1;

  huart1.Init.BaudRate = 115200;

  huart1.Init.WordLength = UART_WORDLENGTH_8B;

  huart1.Init.StopBits = UART_STOPBITS_1;

  huart1.Init.Parity = UART_PARITY_NONE;

  huart1.Init.Mode = UART_MODE_TX_RX;

  huart1.Init.HwFlowCtl = UART_HWCONTROL_NONE;

  huart1.Init.OverSampling = UART_OVERSAMPLING_16;

  if (HAL_UART_Init(&huart1) != HAL_OK)

  {

    Error_Handler();

  }

}

static void MX_GPIO_Init(void)

{

  /* GPIO Ports Clock Enable */

  __HAL_RCC_GPIOA_CLK_ENABLE();

}

void Error_Handler(void)

{

    __disable_irq();
    while (1)
    {
    }

}
